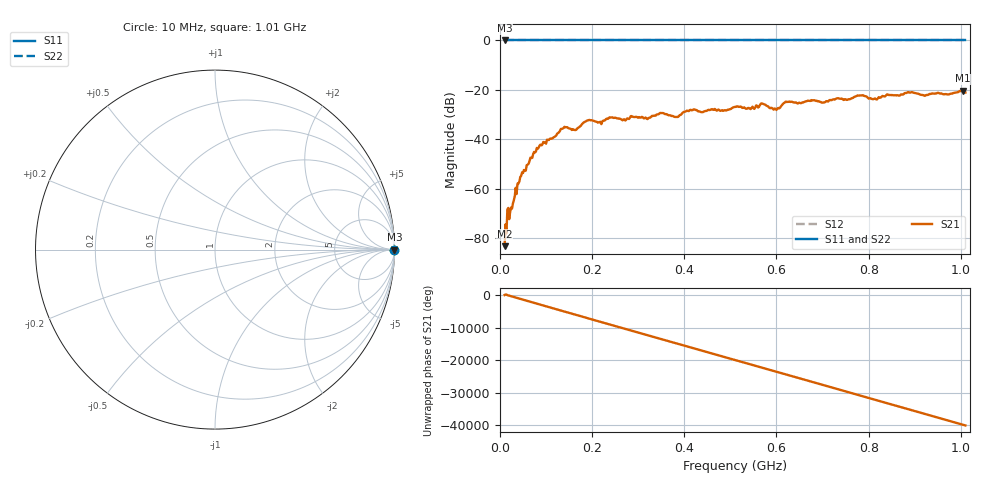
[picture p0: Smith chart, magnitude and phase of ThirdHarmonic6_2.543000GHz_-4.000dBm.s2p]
! 8/17/2025 5:08:47 AM
! C:\ANRITSUVNA\TEMP\TEMP.S2P
! CHANNEL.1
! TR.MEASUREMENT
! RAW.DATA
! RF.CORRECTION.OFF
! AVERAGING.OFF
! IF.BANDWIDTH: 5KHZ
! SWEEPTYPE:  FREQ.SWEEP(Linear)
! Reference Plane Port Info
! PORT:  PORT1  PORT2
! DISTANCE:  0  m  0  m
! TIME:  0  s  0  s
! PHASE.OFFSET:  0  deg.  0  deg.
! LOSS:  0  dB  0  dB
! REF.LOSS:  0  dB  0  dB
! REF.FREQ:  0  Hz  0  Hz
! Power Info
! POWER:  -20  dBm  -20  dBm
! EFF.POWER:  -20  dBm  -20  dBm
! SOURCE.ATTEN:  0  dB  0  dB
! TEST.ATTEN:  0  dB  0  dB
# GHZ S RI R 50.0
! FREQ.GHZ  S11RE  S11IM  S21RE  S21IM  S12RE  S12IM  S22RE  S22IM
!; PortSelection: Port_12
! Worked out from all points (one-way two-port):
!   501 points, 10 MHz to 1.01 GHz, reference 50 ohm
!   highest |S21| = -20.41 dB at 1.004 GHz (marker M1); lowest = -83.4 dB at 10 MHz (marker M2)
!   lowest |S11| = 0.0 dB at 10 MHz (marker M3)
!   |S11| at or under -10 dB: nowhere
!   |S22| runs from 0.0 to 0.0 dB; largest |S21 - S12| = 1.1
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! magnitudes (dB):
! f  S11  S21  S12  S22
! 10 MHz  0.0  -83.4  0.0  0.0
! 20 MHz  0.0  -72.4  0.0  0.0
! 24 MHz  0.0  -67.7  0.0  0.0
! 42 MHz  0.0  -57.2  0.0  0.0
! 76 MHz  0.0  -45.4  0.0  0.0
! 136 MHz  0.0  -35.7  0.0  0.0
! 164 MHz  0.0  -36.3  0.0  0.0
! 178 MHz  0.0  -33.9  0.0  0.0
! 344 MHz  0.0  -29.9  0.0  0.0
! 382 MHz  0.0  -31.0  0.0  0.0
! 416 MHz  0.0  -28.3  0.0  0.0
! 510 MHz  0.0  -26.9  0.0  0.0
! 548 MHz  0.0  -26.8  0.0  0.0
! 570 MHz  0.0  -25.6  0.0  0.0
! 598 MHz  0.0  -27.7  0.0  0.0
! 622 MHz  0.0  -24.9  0.0  0.0
! 678 MHz  0.0  -24.3  0.0  0.0
! 784 MHz  0.0  -22.3  0.0  0.0
! 814 MHz  0.0  -23.5  0.0  0.0
! 844 MHz  0.0  -22.1  0.0  0.0
! 1.004 GHz  0.0  -20.4  0.0  0.0
! 1.01 GHz  0.0  -21.1  0.0  0.0
